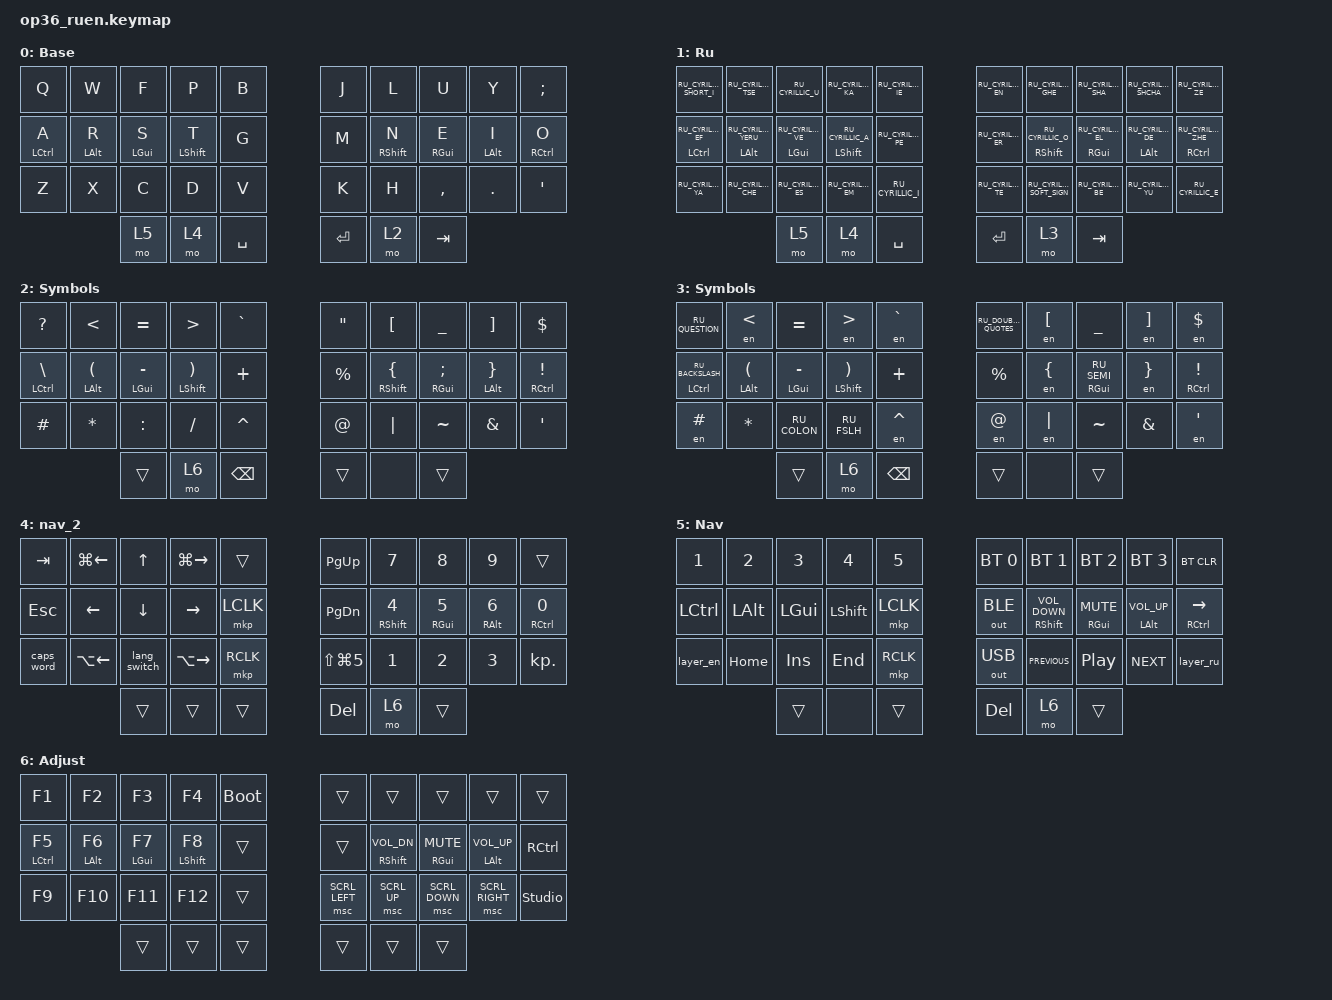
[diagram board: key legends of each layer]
#include "keys_ru.h"
#include "keys_ru.h"
#include <behaviors.dtsi>
#include <dt-bindings/zmk/bt.h>
#include <dt-bindings/zmk/keys.h>
#include <dt-bindings/zmk/outputs.h>
#include <dt-bindings/zmk/pointing.h>

&mt {
    quick-tap-ms = <200>;
    flavor = "tap-preferred";
    require-prior-idle-ms = <125>;
};

/ {
    behaviors {
        hml: home_row_mod_left {
            compatible = "zmk,behavior-hold-tap";
            #binding-cells = <2>;
            flavor = "balanced";
            require-prior-idle-ms = <150>;
            tapping-term-ms = <280>;
            quick-tap-ms = <175>;
            bindings = <&kp>, <&kp>;

            hold-trigger-key-positions = <5 6 7 8 9 15 16 17 18 19 25 26 27 28 29 33 34 35>;
            hold-trigger-on-release;
        };

        hmr: home_row_mod_right {
            compatible = "zmk,behavior-hold-tap";
            #binding-cells = <2>;
            flavor = "balanced";
            require-prior-idle-ms = <150>;
            tapping-term-ms = <280>;
            quick-tap-ms = <175>;
            bindings = <&kp>, <&kp>;

            hold-trigger-key-positions = <0 1 2 3 4 10 11 12 13 14 20 21 22 23 24 30 31 32>;
            hold-trigger-on-release;
        };
    };

    combos {
        compatible = "zmk,combos";

        en_dot {
            bindings = <&kp DOT>;
            key-positions = <6 7>;
            layers = <0>;
        };

        en_comma {
            bindings = <&kp COMMA>;
            key-positions = <7 8>;
            layers = <0>;
        };

        cmben {
            bindings = <&layer_en>;
            key-positions = <4 3>;
            layers = <1>;
        };

        cmbru {
            bindings = <&layer_ru>;
            key-positions = <4 3>;
            layers = <0>;
        };

        kha {
            bindings = <&kp RU_CYRILLIC_HA>;
            key-positions = <26 27>;
            layers = <1>;
        };

        hrdsgn {
            bindings = <&kp RU_CYRILLIC_HARD_SIGN>;
            key-positions = <27 28>;
            layers = <1>;
        };

        ru_dot {
            bindings = <&kp RU_DOT>;
            key-positions = <6 7>;
            layers = <1>;
        };

        ru_comma {
            bindings = <&kp RU_COMMA>;
            key-positions = <7 8>;
            layers = <1>;
        };

        ru_yo {
            bindings = <&kp RU_CYRILLIC_IO>;
            key-positions = <3 2>;
            layers = <1>;
        };
    };

    macros {
        to_ru: to_ru {
            compatible = "zmk,behavior-macro";
            #binding-cells = <0>;
            bindings = <&kp LS(LC(N2))>;
            label = "TO_RU";
            wait-ms = <0>;
            tap-ms = <30>;
        };

        to_en: to_en {
            compatible = "zmk,behavior-macro";
            #binding-cells = <0>;
            bindings = <&kp LS(LC(N1))>;
            label = "TO_EN";
            wait-ms = <0>;
            tap-ms = <30>;
        };

        layer_en: layer_en {
            compatible = "zmk,behavior-macro";
            #binding-cells = <0>;
            bindings = <&to 0 &to_en>;
            label = "LAYER_EN";
            wait-ms = <0>;
            tap-ms = <30>;
        };

        layer_ru: layer_ru {
            compatible = "zmk,behavior-macro";
            #binding-cells = <0>;
            bindings = <&to 1 &to_ru>;
            label = "LAYER_RU";
            tap-ms = <30>;
            wait-ms = <0>;
        };

        en: en {
            compatible = "zmk,behavior-macro-one-param";
            #binding-cells = <1>;
            bindings =
                <&to_en>,
                <&macro_press>,
                <&macro_param_1to1 &kp MACRO_PLACEHOLDER>,
                <&macro_pause_for_release>,
                <&macro_release>,
                <&macro_param_1to1 &kp MACRO_PLACEHOLDER>,
                <&macro_tap>,
                <&to_ru>;

            label = "EN";
            wait-ms = <0>;
            tap-ms = <30>;
        };

        lang_switch: lang_switch {
            compatible = "zmk,behavior-macro";
            #binding-cells = <0>;
            bindings = <&tog 1 &kp LG(SPACE)>;
            label = "LANG_SWITCH";
        };
    };

    keymap {
        compatible = "zmk,keymap";

        en {
            bindings = <
  &kp Q         &kp W        &kp F            &kp P              &kp B                          &kp J  &kp L               &kp U             &kp Y        &kp SEMICOLON
  &hml LCTRL A  &hml LALT R  &hml LEFT_GUI S  &hml LEFT_SHIFT T  &kp G                          &kp M  &hmr RIGHT_SHIFT N  &hmr RIGHT_GUI E  &hmr LALT I  &hmr RIGHT_CONTROL O
  &kp Z         &kp X        &kp C            &kp D              &kp V                          &kp K  &kp H               &kp COMMA         &kp DOT      &kp SQT
                                              &mo 5              &mo 4  &kp SPACE    &kp ENTER  &mo 2  &kp TAB
            >;

            display-name = "Base";
        };

        ru {
            bindings = <
  &kp RU_CYRILLIC_SHORT_I           &kp RU_CYRILLIC_TSE         &kp RU_CYRILLIC_U             &kp RU_CYRILLIC_KA             &kp RU_CYRILLIC_IE                          &kp RU_CYRILLIC_EN  &kp RU_CYRILLIC_GHE             &kp RU_CYRILLIC_SHA            &kp RU_CYRILLIC_SHCHA     &kp RU_CYRILLIC_ZE
  &hml LEFT_CONTROL RU_CYRILLIC_EF  &hml LALT RU_CYRILLIC_YERU  &hml LEFT_GUI RU_CYRILLIC_VE  &hml LEFT_SHIFT RU_CYRILLIC_A  &kp RU_CYRILLIC_PE                          &kp RU_CYRILLIC_ER  &hmr RIGHT_SHIFT RU_CYRILLIC_O  &hmr RIGHT_GUI RU_CYRILLIC_EL  &hmr LALT RU_CYRILLIC_DE  &hmr RIGHT_CONTROL RU_CYRILLIC_ZHE
  &kp RU_CYRILLIC_YA                &kp RU_CYRILLIC_CHE         &kp RU_CYRILLIC_ES            &kp RU_CYRILLIC_EM             &kp RU_CYRILLIC_I                           &kp RU_CYRILLIC_TE  &kp RU_CYRILLIC_SOFT_SIGN       &kp RU_CYRILLIC_BE             &kp RU_CYRILLIC_YU        &kp RU_CYRILLIC_E
                                                                                              &mo 5                          &mo 4               &kp SPACE    &kp ENTER  &mo 3               &kp TAB
            >;

            display-name = "Ru";
        };

        sym_en {
            bindings = <
  &kp QUESTION     &kp LT          &kp EQUAL            &kp GT                &kp GRAVE                           &kp DOUBLE_QUOTES  &kp LBKT               &kp UNDER            &kp RBKT        &kp DLLR
  &hml LCTRL BSLH  &hml LALT LPAR  &hml LEFT_GUI MINUS  &hml LEFT_SHIFT RPAR  &kp PLUS                            &kp PRCNT          &hmr RIGHT_SHIFT LBRC  &hmr RIGHT_GUI SEMI  &hmr LALT RBRC  &hmr RIGHT_CONTROL EXCL
  &kp HASH         &kp STAR        &kp COLON            &kp FSLH              &kp CARET                           &kp AT             &kp PIPE               &kp TILDE            &kp AMPS        &kp APOSTROPHE
                                                        &trans                &mo 6      &kp BACKSPACE    &trans  &none              &trans
            >;

            display-name = "Symbols";
        };

        sym_ru {
            bindings = <
  &kp RU_QUESTION                 &en LT          &kp EQUAL            &en GT            &en GRAVE                           &kp RU_DOUBLE_QUOTES  &en LBKT  &kp UNDER               &en RBKT  &en DLLR
  &hml LEFT_CONTROL RU_BACKSLASH  &hml LALT LPAR  &hml LEFT_GUI MINUS  &hml LSHIFT RPAR  &kp PLUS                            &kp PRCNT             &en LBRC  &hmr RIGHT_GUI RU_SEMI  &en RBRC  &hmr RIGHT_CONTROL EXCL
  &en HASH                        &kp STAR        &kp RU_COLON         &kp RU_FSLH       &en CARET                           &en AT                &en PIPE  &kp TILDE               &kp AMPS  &en APOSTROPHE
                                                                       &trans            &mo 6      &kp BACKSPACE    &trans  &none                 &trans
            >;

            display-name = "Symbols";
        };

        nav_2 {
            bindings = <
  &kp TAB     &kp LG(LEFT_ARROW)  &kp UP_ARROW    &kp LG(RIGHT_ARROW)  &trans                           &kp PAGE_UP           &kp NUMBER_7               &kp NUMBER_8             &kp NUMBER_9             &trans
  &kp ESCAPE  &kp LEFT_ARROW      &kp DOWN_ARROW  &kp RIGHT_ARROW      &mkp LCLK                        &kp PAGE_DOWN         &hmr RIGHT_SHIFT NUMBER_4  &hmr RIGHT_GUI NUMBER_5  &hmr RIGHT_ALT NUMBER_6  &hmr RIGHT_CONTROL NUMBER_0
  &caps_word  &kp LA(LEFT_ARROW)  &lang_switch    &kp LA(RIGHT_ARROW)  &mkp RCLK                        &kp LS(LG(NUMBER_5))  &kp NUMBER_1               &kp NUMBER_2             &kp NUMBER_3             &kp KP_DOT
                                                  &trans               &trans     &trans    &kp DELETE  &mo 6                 &trans
            >;
        };

        nav {
            bindings = <
  &kp N1            &kp N2    &kp N3        &kp N4          &kp N5                           &bt BT_SEL 0  &bt BT_SEL 1                    &bt BT_SEL 2           &bt BT_SEL 3           &bt BT_CLR
  &kp LEFT_CONTROL  &kp LALT  &kp LEFT_GUI  &kp LEFT_SHIFT  &mkp LCLK                        &out OUT_BLE  &hmr RIGHT_SHIFT C_VOLUME_DOWN  &hmr RIGHT_GUI C_MUTE  &hmr LALT C_VOLUME_UP  &hmr RIGHT_CONTROL RIGHT
  &layer_en         &kp HOME  &kp INSERT    &kp END         &mkp RCLK                        &out OUT_USB  &kp C_PREVIOUS                  &kp C_PLAY_PAUSE       &kp C_NEXT             &layer_ru
                                            &trans          &none      &trans    &kp DELETE  &mo 6         &trans
            >;

            display-name = "Nav";
        };

        adj {
            bindings = <
  &kp F1                &kp F2            &kp F3            &kp F4              &bootloader                    &trans          &trans                     &trans                 &trans              &trans
  &hml LEFT_CONTROL F5  &hml LEFT_ALT F6  &hml LEFT_GUI F7  &hml LEFT_SHIFT F8  &trans                         &trans          &hmr RIGHT_SHIFT C_VOL_DN  &hmr RIGHT_GUI C_MUTE  &hmr LALT C_VOL_UP  &kp RIGHT_CONTROL
  &kp F9                &kp F10           &kp F11           &kp F12             &trans                         &msc SCRL_LEFT  &msc SCRL_UP               &msc SCRL_DOWN         &msc SCRL_RIGHT     &studio_unlock
                                                            &trans              &trans       &trans    &trans  &trans          &trans
            >;

            display-name = "Adjust";
        };
    };
};
